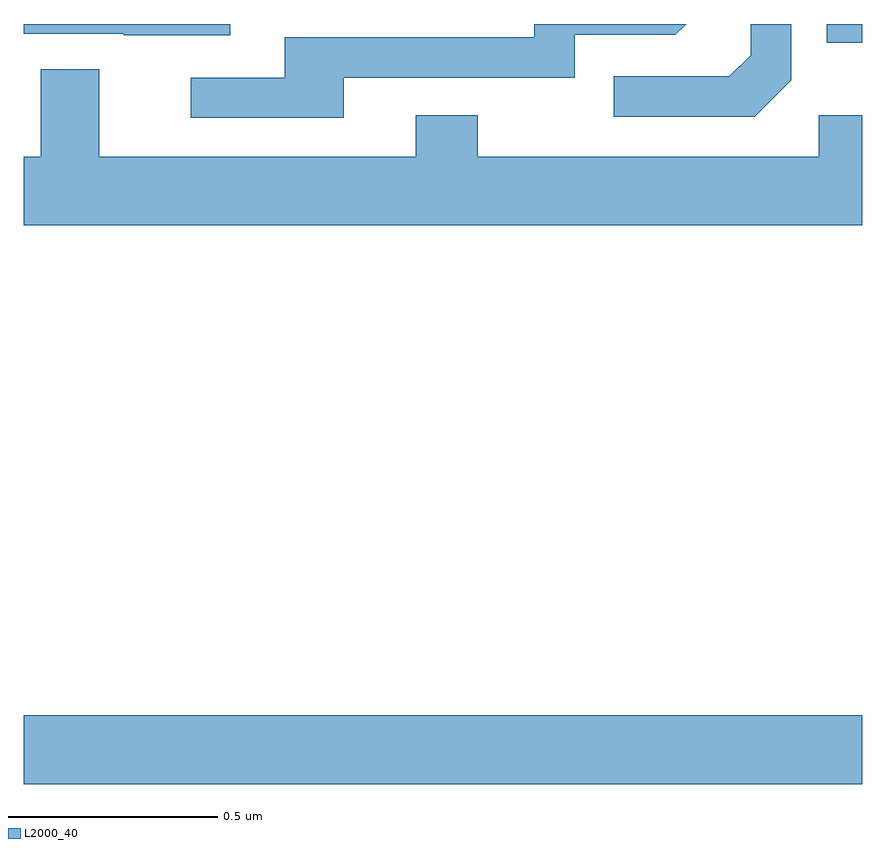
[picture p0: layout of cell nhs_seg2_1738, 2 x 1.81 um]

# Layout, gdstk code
import gdstk
lib = gdstk.Library(unit=1e-6, precision=1e-09)
def R(c, l, rs):  # rectangles x0, y0, x1, y1
    for r in rs: c.add(gdstk.rectangle(r[:2], r[2:], *l))
def P(c, l, *ps):  # polygons
    for p in ps: c.add(gdstk.Polygon(p, *l))
L2000_40 = (2000, 40)

nhs_seg2_1738 = lib.new_cell('nhs_seg2_1738')
R(nhs_seg2_1738, L2000_40, [(132,628.988,134,629.152), (133.915,630.755,134,630.8)])
P(nhs_seg2_1738, L2000_40, [(133.83,630.666),(133.83,630.8),(133.734,630.8),(133.734,630.726),(133.683,630.675),(133.407,630.675),(133.407,630.579),(133.743,630.579)],
  [(132.493,630.8),(132,630.8),(132,630.777),(132.239,630.777),(132.239,630.773),(132.493,630.773)],
  [(132.763,630.672),(133.314,630.672),(133.314,630.774),(133.554,630.774),(133.58,630.8),(133.218,630.8),(133.218,630.768),(132.623,630.768),(132.623,630.672),(132.399,630.672),(132.399,630.576),(132.763,630.576)],
  [(134,630.583),(133.896,630.583),(133.896,630.484),(133.083,630.484),(133.083,630.583),(132.935,630.583),(132.935,630.484),(132.181,630.484),(132.181,630.692),(132.041,630.692),(132.041,630.484),(132,630.484),(132,630.32),(134,630.32)])

lib.write_gds('nhs_seg2_1738.gds')
